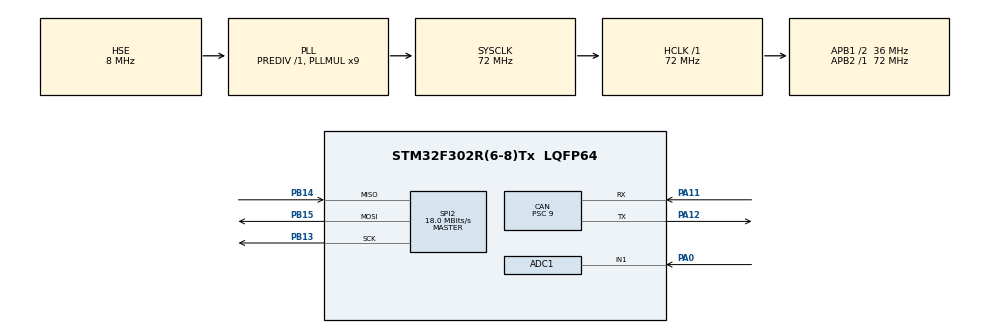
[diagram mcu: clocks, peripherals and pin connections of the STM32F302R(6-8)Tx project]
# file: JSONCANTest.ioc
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ADC1.Channel-0\#ChannelRegularConversion=ADC_CHANNEL_1
ADC1.NbrOfConversionFlag=1
ADC1.Offset-0\#ChannelRegularConversion=0
ADC1.OffsetNumber-0\#ChannelRegularConversion=ADC_OFFSET_NONE
ADC1.Rank-0\#ChannelRegularConversion=1
ADC1.SamplingTime-0\#ChannelRegularConversion=ADC_SAMPLETIME_1CYCLE_5
ADC1.master=1
CAN.ABOM=ENABLE
CAN.BS1=CAN_BS1_6TQ
CAN.CalculateTimeQuantum=250.0
CAN.NART=ENABLE
CAN.Prescaler=9
CAN.RFLM=ENABLE
CAN.SJW=CAN_SJW_4TQ
FREERTOS.INCLUDE_uxTaskGetStackHighWaterMark=1
FREERTOS.INCLUDE_vTaskDelayUntil=1
FREERTOS.MEMORY_ALLOCATION=1
FREERTOS.Tasks01=Task100Hz,-1,128,RunTask100Hz,Default,NULL,Static,Task100HzBuffer,Task100HzControlBlock;Task1Hz,-2,128,RunTask1Hz,Default,NULL,Static,Task1HzBuffer,Task1HzControlBlock;Task1kHz,1,128,RunTask1kHz,Default,NULL,Static,Task1kHzBuffer,Task1kHzControlBlock;TaskCanRx,-3,128,RunTaskCanRx,Default,NULL,Static,TaskCanRxBuffer,TaskCanRxControlBlock;TaskCanTx,-3,128,RunTaskCanTx,Default,NULL,Static,TaskCanTxBuffer,TaskCanTxControlBlock
FREERTOS.configCHECK_FOR_STACK_OVERFLOW=2
FREERTOS.configUSE_TICK_HOOK=1
FREERTOS.configUSE_TRACE_FACILITY=1
Mcu.Family=STM32F3
Mcu.Name=STM32F302R(6-8)Tx
Mcu.Package=LQFP64
NVIC.CAN_RX1_IRQn=true\:5\:0\:false\:false\:true\:true\:true\:true
NVIC.PriorityGroup=NVIC_PRIORITYGROUP_4
NVIC.TIM1_UP_TIM16_IRQn=true\:0\:0\:false\:false\:true\:false\:false\:true
NVIC.TimeBase=TIM1_UP_TIM16_IRQn
NVIC.TimeBaseIP=TIM1
NVIC.USB_HP_CAN_TX_IRQn=true\:5\:0\:false\:false\:true\:true\:true\:true
NVIC.USB_LP_CAN_RX0_IRQn=true\:5\:0\:false\:false\:true\:true\:true\:true
PA0.Mode=IN1-Single-Ended
PA0.Signal=ADC1_IN1
PA11.Mode=Master
PA11.Signal=CAN_RX
PA12.Mode=Master
PA12.Signal=CAN_TX
PA13.Mode=Trace_Asynchronous_SW
PA13.Signal=SYS_JTMS-SWDIO
PA14.Mode=Trace_Asynchronous_SW
PA14.Signal=SYS_JTCK-SWCLK
PB13.Mode=Full_Duplex_Master
PB13.Signal=SPI2_SCK
PB14.Mode=Full_Duplex_Master
PB14.Signal=SPI2_MISO
PB15.Mode=Full_Duplex_Master
PB15.Signal=SPI2_MOSI
PB3.Mode=Trace_Asynchronous_SW
PB3.Signal=SYS_JTDO-TRACESWO
PF0-OSC_IN.Mode=HSE-External-Oscillator
PF0-OSC_IN.Signal=RCC_OSC_IN
PF1-OSC_OUT.Mode=HSE-External-Oscillator
PF1-OSC_OUT.Signal=RCC_OSC_OUT
ProjectManager.HeapSize=0x200
ProjectManager.StackSize=0x400
ProjectManager.TargetToolchain=SW4STM32
RCC.AHBFreq_Value=72000000
RCC.APB1CLKDivider=RCC_HCLK_DIV2
RCC.APB1Freq_Value=36000000
RCC.APB1TimFreq_Value=72000000
RCC.APB2Freq_Value=72000000
RCC.APB2TimFreq_Value=72000000
RCC.CortexFreq_Value=72000000
RCC.HCLKFreq_Value=72000000
RCC.HSE_VALUE=8000000
RCC.HSI_VALUE=8000000
RCC.LSE_VALUE=32768
RCC.PLLMUL=RCC_PLL_MUL9
RCC.PLLSourceVirtual=RCC_PLLSOURCE_HSE
RCC.SYSCLKFreq_VALUE=72000000
RCC.SYSCLKSourceVirtual=RCC_SYSCLKSOURCE_PLLCLK
RCC.USBFreq_Value=72000000
SPI2.CalculateBaudRate=18.0 MBits/s
SPI2.Direction=SPI_DIRECTION_2LINES
SPI2.Mode=SPI_MODE_MASTER
SPI2.VirtualType=VM_MASTER
VP_FREERTOS_VS_CMSIS_V1.Mode=CMSIS_V1
VP_SYS_VS_tim1.Mode=TIM1
board=custom

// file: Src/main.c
/* USER CODE BEGIN Header */
/**
 ******************************************************************************
 * @file           : main.c
 * @brief          : Main program body
 ******************************************************************************
 * @attention
 *
 * <h2><center>&copy; Copyright (c) 2022 STMicroelectronics.
 * All rights reserved.</center></h2>
 *
 * This software component is licensed by ST under BSD 3-Clause license,
 * the "License"; You may not use this file except in compliance with the
 * License. You may obtain a copy of the License at:
 *                        opensource.org/licenses/BSD-3-Clause
 *
 ******************************************************************************
 */
/* USER CODE END Header */

#include "main.h"
#include "cmsis_os.h"

/* USER CODE BEGIN Includes */
#include "App_SharedMacros.h"
#include "Io_SharedCan.h"
//#include "Io_SharedSoftwareWatchdog.h"
#include "Io_CanTx.h"
#include "Io_CanRx.h"
#include "App_JsoncantestWorld.h"
/* USER CODE END Includes */

ADC_HandleTypeDef hadc1;

CAN_HandleTypeDef hcan;

SPI_HandleTypeDef hspi2;

osThreadId          Task100HzHandle;
uint32_t            Task100HzBuffer[128];
osStaticThreadDef_t Task100HzControlBlock;
osThreadId          Task1HzHandle;
uint32_t            Task1HzBuffer[128];
osStaticThreadDef_t Task1HzControlBlock;
osThreadId          Task1kHzHandle;
uint32_t            Task1kHzBuffer[128];
osStaticThreadDef_t Task1kHzControlBlock;
osThreadId          TaskCanRxHandle;
uint32_t            TaskCanRxBuffer[128];
osStaticThreadDef_t TaskCanRxControlBlock;
osThreadId          TaskCanTxHandle;
uint32_t            TaskCanTxBuffer[128];
osStaticThreadDef_t TaskCanTxControlBlock;
/* USER CODE BEGIN PV */
// struct JsoncantestCanTxInterface *can_tx;
// struct JsoncantestCanRxInterface *can_rx;
struct Clock *clock;
/* USER CODE END PV */

void        SystemClock_Config(void);
static void MX_GPIO_Init(void);
static void MX_CAN_Init(void);
static void MX_ADC1_Init(void);
static void MX_SPI2_Init(void);
void        RunTask100Hz(void const *argument);
void        RunTask1Hz(void const *argument);
void        RunTask1kHz(void const *argument);
void        RunTaskCanRx(void const *argument);
void        RunTaskCanTx(void const *argument);

/* USER CODE BEGIN PFP */

static void CanRxQueueOverflowCallBack(size_t overflow_count);
static void CanTxQueueOverflowCallBack(size_t overflow_count);

/* USER CODE END PFP */

/* USER CODE BEGIN 0 */

static void CanRxQueueOverflowCallBack(size_t overflow_count)
{
    // Not implemented
}

static void CanTxQueueOverflowCallBack(size_t overflow_count)
{
    // Not implemented
}

/* USER CODE END 0 */

int main(void)
{

    /* MCU Configuration--------------------------------------------------------*/

    /* Reset of all peripherals, Initializes the Flash interface and the Systick. */
    HAL_Init();

    /* Configure the system clock */
    SystemClock_Config();

    /* Initialize all configured peripherals */
    MX_GPIO_Init();
    MX_CAN_Init();
    MX_ADC1_Init();
    MX_SPI2_Init();
    /* USER CODE BEGIN 2 */

    App_CanTx_Init();
    App_CanRx_Init();

    /* USER CODE END 2 */

    /* Create the thread(s) */
    /* definition and creation of Task100Hz */
    osThreadStaticDef(Task100Hz, RunTask100Hz, osPriorityBelowNormal, 0, 128, Task100HzBuffer, &Task100HzControlBlock);
    Task100HzHandle = osThreadCreate(osThread(Task100Hz), NULL);

    /* definition and creation of Task1Hz */
    osThreadStaticDef(Task1Hz, RunTask1Hz, osPriorityLow, 0, 128, Task1HzBuffer, &Task1HzControlBlock);
    Task1HzHandle = osThreadCreate(osThread(Task1Hz), NULL);

    /* definition and creation of Task1kHz */
    osThreadStaticDef(Task1kHz, RunTask1kHz, osPriorityAboveNormal, 0, 128, Task1kHzBuffer, &Task1kHzControlBlock);
    Task1kHzHandle = osThreadCreate(osThread(Task1kHz), NULL);

    /* definition and creation of TaskCanRx */
    osThreadStaticDef(TaskCanRx, RunTaskCanRx, osPriorityIdle, 0, 128, TaskCanRxBuffer, &TaskCanRxControlBlock);
    TaskCanRxHandle = osThreadCreate(osThread(TaskCanRx), NULL);

    /* definition and creation of TaskCanTx */
    osThreadStaticDef(TaskCanTx, RunTaskCanTx, osPriorityIdle, 0, 128, TaskCanTxBuffer, &TaskCanTxControlBlock);
    TaskCanTxHandle = osThreadCreate(osThread(TaskCanTx), NULL);

    /* Start scheduler */
    osKernelStart();

    /* We should never get here as control is now taken by the scheduler */

    /* Infinite loop */
    while (1)
    {

    }
}

void SystemClock_Config(void)
{
    RCC_OscInitTypeDef       RCC_OscInitStruct = { 0 };
    RCC_ClkInitTypeDef       RCC_ClkInitStruct = { 0 };
    RCC_PeriphCLKInitTypeDef PeriphClkInit     = { 0 };

    /** Initializes the CPU, AHB and APB busses clocks
     */
    RCC_OscInitStruct.OscillatorType = RCC_OSCILLATORTYPE_HSE;
    RCC_OscInitStruct.HSEState       = RCC_HSE_ON;
    RCC_OscInitStruct.HSEPredivValue = RCC_HSE_PREDIV_DIV1;
    RCC_OscInitStruct.HSIState       = RCC_HSI_ON;
    RCC_OscInitStruct.PLL.PLLState   = RCC_PLL_ON;
    RCC_OscInitStruct.PLL.PLLSource  = RCC_PLLSOURCE_HSE;
    RCC_OscInitStruct.PLL.PLLMUL     = RCC_PLL_MUL9;
    if (HAL_RCC_OscConfig(&RCC_OscInitStruct) != HAL_OK)
    {
        Error_Handler();
    }
    /** Initializes the CPU, AHB and APB busses clocks
     */
    RCC_ClkInitStruct.ClockType = RCC_CLOCKTYPE_HCLK | RCC_CLOCKTYPE_SYSCLK | RCC_CLOCKTYPE_PCLK1 | RCC_CLOCKTYPE_PCLK2;
    RCC_ClkInitStruct.SYSCLKSource   = RCC_SYSCLKSOURCE_PLLCLK;
    RCC_ClkInitStruct.AHBCLKDivider  = RCC_SYSCLK_DIV1;
    RCC_ClkInitStruct.APB1CLKDivider = RCC_HCLK_DIV2;
    RCC_ClkInitStruct.APB2CLKDivider = RCC_HCLK_DIV1;

    if (HAL_RCC_ClockConfig(&RCC_ClkInitStruct, FLASH_LATENCY_2) != HAL_OK)
    {
        Error_Handler();
    }
    PeriphClkInit.PeriphClockSelection = RCC_PERIPHCLK_ADC1;
    PeriphClkInit.Adc1ClockSelection   = RCC_ADC1PLLCLK_DIV1;

    if (HAL_RCCEx_PeriphCLKConfig(&PeriphClkInit) != HAL_OK)
    {
        Error_Handler();
    }
}

static void MX_ADC1_Init(void)
{

    ADC_ChannelConfTypeDef sConfig = { 0 };

    /** Common config
     */
    hadc1.Instance                   = ADC1;
    hadc1.Init.ClockPrescaler        = ADC_CLOCK_ASYNC_DIV1;
    hadc1.Init.Resolution            = ADC_RESOLUTION_12B;
    hadc1.Init.ScanConvMode          = ADC_SCAN_DISABLE;
    hadc1.Init.ContinuousConvMode    = DISABLE;
    hadc1.Init.DiscontinuousConvMode = DISABLE;
    hadc1.Init.ExternalTrigConvEdge  = ADC_EXTERNALTRIGCONVEDGE_NONE;
    hadc1.Init.ExternalTrigConv      = ADC_SOFTWARE_START;
    hadc1.Init.DataAlign             = ADC_DATAALIGN_RIGHT;
    hadc1.Init.NbrOfConversion       = 1;
    hadc1.Init.DMAContinuousRequests = DISABLE;
    hadc1.Init.EOCSelection          = ADC_EOC_SINGLE_CONV;
    hadc1.Init.LowPowerAutoWait      = DISABLE;
    hadc1.Init.Overrun               = ADC_OVR_DATA_OVERWRITTEN;
    if (HAL_ADC_Init(&hadc1) != HAL_OK)
    {
        Error_Handler();
    }
    /** Configure Regular Channel
     */
    sConfig.Channel      = ADC_CHANNEL_1;
    sConfig.Rank         = ADC_REGULAR_RANK_1;
    sConfig.SingleDiff   = ADC_SINGLE_ENDED;
    sConfig.SamplingTime = ADC_SAMPLETIME_1CYCLE_5;
    sConfig.OffsetNumber = ADC_OFFSET_NONE;
    sConfig.Offset       = 0;
    if (HAL_ADC_ConfigChannel(&hadc1, &sConfig) != HAL_OK)
    {
        Error_Handler();
    }
}

static void MX_CAN_Init(void)
{

    hcan.Instance                  = CAN;
    hcan.Init.Prescaler            = 9;
    hcan.Init.Mode                 = CAN_MODE_NORMAL;
    hcan.Init.SyncJumpWidth        = CAN_SJW_4TQ;
    hcan.Init.TimeSeg1             = CAN_BS1_6TQ;
    hcan.Init.TimeSeg2             = CAN_BS2_1TQ;
    hcan.Init.TimeTriggeredMode    = DISABLE;
    hcan.Init.AutoBusOff           = ENABLE;
    hcan.Init.AutoWakeUp           = DISABLE;
    hcan.Init.AutoRetransmission   = ENABLE;
    hcan.Init.ReceiveFifoLocked    = ENABLE;
    hcan.Init.TransmitFifoPriority = DISABLE;
    if (HAL_CAN_Init(&hcan) != HAL_OK)
    {
        Error_Handler();
    }
    /* USER CODE BEGIN CAN_Init 2 */
    Io_SharedCan_Init(&hcan, CanTxQueueOverflowCallBack, CanRxQueueOverflowCallBack);
    /* USER CODE END CAN_Init 2 */
}

static void MX_SPI2_Init(void)
{

    /* SPI2 parameter configuration*/
    hspi2.Instance               = SPI2;
    hspi2.Init.Mode              = SPI_MODE_MASTER;
    hspi2.Init.Direction         = SPI_DIRECTION_2LINES;
    hspi2.Init.DataSize          = SPI_DATASIZE_4BIT;
    hspi2.Init.CLKPolarity       = SPI_POLARITY_LOW;
    hspi2.Init.CLKPhase          = SPI_PHASE_1EDGE;
    hspi2.Init.NSS               = SPI_NSS_SOFT;
    hspi2.Init.BaudRatePrescaler = SPI_BAUDRATEPRESCALER_2;
    hspi2.Init.FirstBit          = SPI_FIRSTBIT_MSB;
    hspi2.Init.TIMode            = SPI_TIMODE_DISABLE;
    hspi2.Init.CRCCalculation    = SPI_CRCCALCULATION_DISABLE;
    hspi2.Init.CRCPolynomial     = 7;
    hspi2.Init.CRCLength         = SPI_CRC_LENGTH_DATASIZE;
    hspi2.Init.NSSPMode          = SPI_NSS_PULSE_ENABLE;
    if (HAL_SPI_Init(&hspi2) != HAL_OK)
    {
        Error_Handler();
    }
}

static void MX_GPIO_Init(void)
{
    /* GPIO Ports Clock Enable */
    __HAL_RCC_GPIOF_CLK_ENABLE();
    __HAL_RCC_GPIOA_CLK_ENABLE();
    __HAL_RCC_GPIOB_CLK_ENABLE();
}

void RunTask100Hz(void const *argument)
{
    /* USER CODE BEGIN 5 */
    UNUSED(argument);
    uint32_t                PreviousWakeTime = osKernelSysTick();
    static const TickType_t period_ms        = 10;
    //    SoftwareWatchdogHandle_t watchdog         = Io_SharedSoftwareWatchdog_AllocateWatchdog();
    //    Io_SharedSoftwareWatchdog_InitWatchdog(watchdog, "TASK_100HZ", period_ms);

    /* Infinite loop */
    for (;;)
    {
        //        App_SharedStateMachine_Tick100Hz(state_machine);

        // Watchdog check-in must be the last function called before putting the
        // task to sleep.
        //        Io_SharedSoftwareWatchdog_CheckInWatchdog(watchdog);
        osDelayUntil(&PreviousWakeTime, period_ms);
    }
    /* USER CODE END 5 */
}

void RunTask1Hz(void const *argument)
{
    /* USER CODE BEGIN RunTask1Hz */
    UNUSED(argument);
    uint32_t                PreviousWakeTime = osKernelSysTick();
    static const TickType_t period_ms        = 1000U;
    //    SoftwareWatchdogHandle_t watchdog         = Io_SharedSoftwareWatchdog_AllocateWatchdog();
    //    Io_SharedSoftwareWatchdog_InitWatchdog(watchdog, "TASK_1HZ", period_ms);

    for (;;)
    {
        //        Io_StackWaterMark_Check();
        //        App_SharedStateMachine_Tick1Hz(state_machine);

        // Watchdog check-in must be the last function called before putting the
        // task to sleep.
        //        Io_SharedSoftwareWatchdog_CheckInWatchdog(watchdog);
        osDelayUntil(&PreviousWakeTime, period_ms);
    }
    /* USER CODE END RunTask1Hz */
}

void RunTask1kHz(void const *argument)
{
    /* USER CODE BEGIN RunTask1kHz */
    UNUSED(argument);
    uint32_t                PreviousWakeTime = osKernelSysTick();
    static const TickType_t period_ms        = 10U;
    //    SoftwareWatchdogHandle_t watchdog         = Io_SharedSoftwareWatchdog_AllocateWatchdog();
    //    Io_SharedSoftwareWatchdog_InitWatchdog(watchdog, "TASK_1KHZ", period_ms);

    for (;;)
    {
        //        Io_SharedSoftwareWatchdog_CheckForTimeouts();
        const uint32_t task_start_ms = TICK_TO_MS(osKernelSysTick());
        //        App_SharedClock_SetCurrentTimeInMilliseconds(clock, task_start_ms); //BROKEN!

        App_CanTx_JSONCANTest_VITALS_HEARTBEAT_SetSignal(1);
        App_CanTx_JSONCANTest_STATUS_CONTACTORS_CLOSED_SetSignal(1);
        const float apps_pedal_travel = App_CanRx_FSM_APPS_Sapps_Mapped_Pedal_Percentage_GetValue();
        Io_CanTx_Enqueue1kHzMessages(task_start_ms);

        // Watchdog check-in must be the last function called before putting the
        // task to sleep. Prevent check in if the elapsed period is greater or
        // equal to the period ms
        //        if ((TICK_TO_MS(osKernelSysTick()) - task_start_ms) <= period_ms)
        //        {
        //            Io_SharedSoftwareWatchdog_CheckInWatchdog(watchdog);
        //        }

        osDelayUntil(&PreviousWakeTime, period_ms);
    }

    //    /* Infinite loop */
    //    for (;;)
    //    {
    //        osDelay(1);
    //    }
    /* USER CODE END RunTask1kHz */
}

void RunTaskCanRx(void const *argument)
{
    /* USER CODE BEGIN RunTaskCanRx */
    /* Infinite loop */
    for (;;)
    {
        struct CanMsg message;
        Io_SharedCan_DequeueCanRxMessage(&message);
        Io_CanRx_UpdateRxTableWithMessage(&message);
    }
    /* USER CODE END RunTaskCanRx */
}

void RunTaskCanTx(void const *argument)
{
    /* USER CODE BEGIN RunTaskCanTx */
    /* Infinite loop */
    for (;;)
    {
        Io_SharedCan_TransmitEnqueuedCanTxMessagesFromTask();
    }
    /* USER CODE END RunTaskCanTx */
}

void HAL_TIM_PeriodElapsedCallback(TIM_HandleTypeDef *htim)
{
    if (htim->Instance == TIM1)
    {
        HAL_IncTick();
    }
}

void Error_Handler(void)
{
}

/************************ (C) COPYRIGHT STMicroelectronics *****END OF FILE****/
